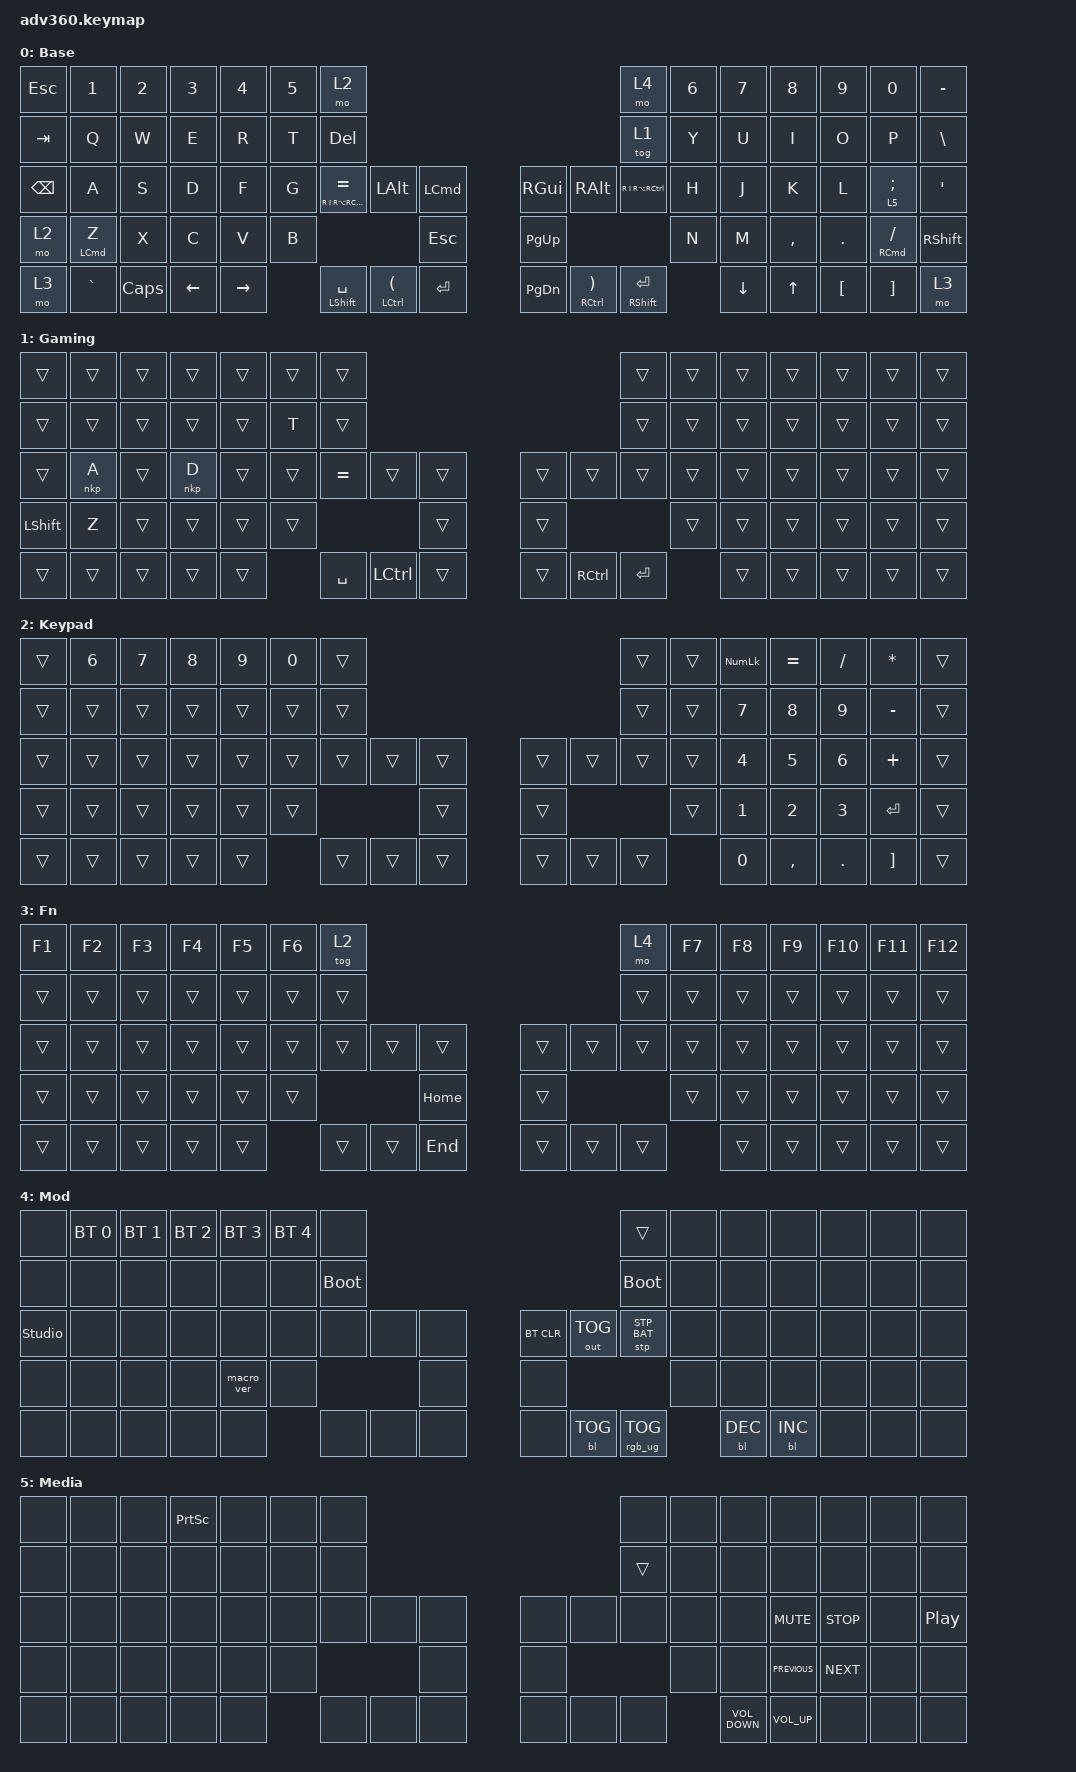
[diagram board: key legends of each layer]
/*
 * Copyright (c) 2020 The ZMK Contributors
 *
 * SPDX-License-Identifier: MIT
 */
/* THIS FILE WAS GENERATED!
 *
 * This file was generated automatically. You may or may not want to
 * edit it directly.
 */

#include <behaviors/non_overlap.dtsi>
#include <dt-bindings/zmk/stp.h>
#include <behaviors.dtsi>
#include <dt-bindings/zmk/backlight.h>
#include <dt-bindings/zmk/bt.h>
#include <dt-bindings/zmk/keys.h>
#include <dt-bindings/zmk/outputs.h>
#include <dt-bindings/zmk/rgb.h>

&mt {
    quick-tap-ms = <175>;
    flavor = "tap-preferred";
};

/ {
    behaviors {
        #include "macros.dtsi"
    #include "version.dtsi"

        hm: homerow_mods {
            compatible = "zmk,behavior-hold-tap";
            label = "HOMEROW_MODS";
            #binding-cells = <2>;
            tapping-term-ms = <200>;
            quick_tap_ms = <175>;
            flavor = "tap-preferred";
            bindings = <&kp>, <&kp>;
        };
    };

    keymap {
        compatible = "zmk,keymap";

        default_layer {
            display-name = "Base";
            bindings = <
&kp ESC        &kp N1              &kp N2    &kp N3    &kp N4     &kp N5  &mo 2                                                                                                                 &mo 4                  &kp N6  &kp N7    &kp N8     &kp N9    &kp N0                   &kp MINUS
&kp TAB        &kp Q               &kp W     &kp E     &kp R      &kp T   &kp DELETE                                                                                                            &tog 1                 &kp Y   &kp U     &kp I      &kp O     &kp P                    &kp BSLH
&kp BACKSPACE  &kp A               &kp S     &kp D     &kp F      &kp G   &mt RS(RA(RC(LCMD))) EQUAL  &kp LALT                    &kp LEFT_COMMAND      &kp RGUI   &kp RALT                     &kp RS(RA(RCTRL))      &kp H   &kp J     &kp K      &kp L     &lt 5 SEMI               &kp SQT
&mo 2          &mt LEFT_COMMAND Z  &kp X     &kp C     &kp V      &kp B                                                           &kp ESCAPE            &kp PG_UP                                                      &kp N   &kp M     &kp COMMA  &kp DOT   &mt RIGHT_COMMAND SLASH  &kp RSHFT
&mo 3          &kp GRAVE           &kp CAPS  &kp LEFT  &kp RIGHT          &mt LEFT_SHIFT SPACE        &mt LCTRL LEFT_PARENTHESIS  &kp ENTER             &kp PG_DN  &mt RCTRL RIGHT_PARENTHESIS  &mt RIGHT_SHIFT ENTER          &kp DOWN  &kp UP     &kp LBKT  &kp RBKT                 &mo 3
            >;
        };

        gaming {
            display-name = "Gaming";
            bindings = <
&trans     &trans  &trans  &trans  &trans  &trans  &trans                                               &trans     &trans  &trans  &trans  &trans  &trans  &trans
&trans     &trans  &trans  &trans  &trans  &kp T   &trans                                               &trans     &trans  &trans  &trans  &trans  &trans  &trans
&trans     &nkp A  &trans  &nkp D  &trans  &trans  &kp EQUAL  &trans     &trans      &trans  &trans     &trans     &trans  &trans  &trans  &trans  &trans  &trans
&kp LSHFT  &kp Z   &trans  &trans  &trans  &trans                        &trans      &trans                        &trans  &trans  &trans  &trans  &trans  &trans
&trans     &trans  &trans  &trans  &trans          &kp SPACE  &kp LCTRL  &trans      &trans  &kp RCTRL  &kp ENTER          &trans  &trans  &trans  &trans  &trans
            >;
        };

        layer_keypad {
            display-name = "Keypad";
            bindings = <
&trans  &kp NUMBER_6  &kp NUMBER_7  &kp NUMBER_8  &kp NUMBER_9  &kp NUMBER_0  &trans                                      &trans  &trans  &kp KP_NUM  &kp EQUAL  &kp FSLH  &kp ASTERISK  &trans
&trans  &trans        &trans        &trans        &trans        &trans        &trans                                      &trans  &trans  &kp N7      &kp N8     &kp N9    &kp MINUS     &trans
&trans  &trans        &trans        &trans        &trans        &trans        &trans  &trans  &trans      &trans  &trans  &trans  &trans  &kp N4      &kp N5     &kp N6    &kp PLUS      &trans
&trans  &trans        &trans        &trans        &trans        &trans                        &trans      &trans                  &trans  &kp N1      &kp N2     &kp N3    &kp RET       &trans
&trans  &trans        &trans        &trans        &trans                      &trans  &trans  &trans      &trans  &trans  &trans          &kp N0      &kp COMMA  &kp DOT   &kp RBKT      &trans
            >;
        };

        layer_fn {
            display-name = "Fn";
            bindings = <
&kp F1  &kp F2  &kp F3  &kp F4  &kp F5  &kp F6  &tog 2                                        &mo 4   &kp F7  &kp F8  &kp F9  &kp F10  &kp F11  &kp F12
&trans  &trans  &trans  &trans  &trans  &trans  &trans                                        &trans  &trans  &trans  &trans  &trans   &trans   &trans
&trans  &trans  &trans  &trans  &trans  &trans  &trans  &trans  &trans        &trans  &trans  &trans  &trans  &trans  &trans  &trans   &trans   &trans
&trans  &trans  &trans  &trans  &trans  &trans                  &kp HOME      &trans                  &trans  &trans  &trans  &trans   &trans   &trans
&trans  &trans  &trans  &trans  &trans          &trans  &trans  &kp END       &trans  &trans  &trans          &trans  &trans  &trans   &trans   &trans
            >;
        };

        layer_mod {
            display-name = "Mod";
            bindings = <
&none           &bt BT_SEL 0  &bt BT_SEL 1  &bt BT_SEL 2  &bt BT_SEL 3  &bt BT_SEL 4  &none                                                    &trans           &none  &none       &none       &none  &none  &none
&none           &none         &none         &none         &none         &none         &bootloader                                              &bootloader      &none  &none       &none       &none  &none  &none
&studio_unlock  &none         &none         &none         &none         &none         &none        &none  &none      &bt BT_CLR  &out OUT_TOG  &stp STP_BAT     &none  &none       &none       &none  &none  &none
&none           &none         &none         &none         &macro_ver    &none                             &none      &none                                      &none  &none       &none       &none  &none  &none
&none           &none         &none         &none         &none                       &none        &none  &none      &none       &bl BL_TOG    &rgb_ug RGB_TOG         &bl BL_DEC  &bl BL_INC  &none  &none  &none
            >;
        };

        media {
            display-name = "Media";
            bindings = <
&none  &none  &none  &kp PRINTSCREEN  &none  &none  &none                                  &none   &none  &none              &none            &none       &none  &none
&none  &none  &none  &none            &none  &none  &none                                  &trans  &none  &none              &none            &none       &none  &none
&none  &none  &none  &none            &none  &none  &none  &none  &none      &none  &none  &none   &none  &none              &kp C_MUTE       &kp C_STOP  &none  &kp C_PLAY_PAUSE
&none  &none  &none  &none            &none  &none                &none      &none                 &none  &none              &kp C_PREVIOUS   &kp C_NEXT  &none  &none
&none  &none  &none  &none            &none         &none  &none  &none      &none  &none  &none          &kp C_VOLUME_DOWN  &kp C_VOLUME_UP  &none       &none  &none
            >;
        };

        extra1 {
            display-name = "Red";
            status = "reserved";
        };

        extra2 {
            display-name = "Purple";
            status = "reserved";
        };

        extra3 {
            display-name = "Cyan";
            status = "reserved";
        };

        extra4 {
            display-name = "Yellow";
            status = "reserved";
        };
    };
};
